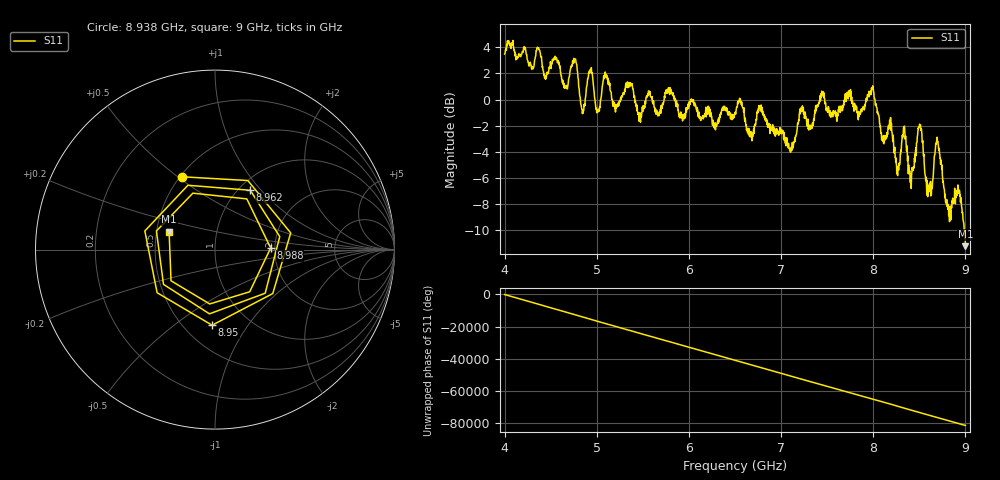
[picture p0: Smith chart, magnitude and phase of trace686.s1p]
! Created with skrf 1.8.0 (http://scikit-rf.org).
# Hz S RI R 50.0
!freq ReS11 ImS11
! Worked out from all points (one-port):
!   1601 points, 4 GHz to 9 GHz, reference 50 ohm
!   lowest |S11| = -11.2 dB at 9 GHz (marker M1), VSWR 1.76, Z = 29.1 + j6.28 ohm
!   |S11| at or under -10 dB: 8.986956 GHz to end of sweep
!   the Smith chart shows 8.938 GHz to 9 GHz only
!   S11 on the Smith chart (normalised r, x): 8.938 GHz: 0.51, +0.52; 8.95 GHz: 0.68, -0.70; 8.962 GHz: 1.13, +0.88; 8.988 GHz: 1.90, +0.04; 9 GHz: 0.58, +0.13
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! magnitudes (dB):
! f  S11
! 4 GHz  3.5
! 4.625 GHz  1.4
! 4.759 GHz  3.1
! 4.847 GHz  -1.0
! 4.928 GHz  2.3
! 5.009 GHz  -0.8
! 5.097 GHz  1.8
! 5.25 GHz  -0.1
! 5.875 GHz  -0.6
! 6.5 GHz  -1.1
! 6.775 GHz  -0.9
! 7.125 GHz  -3.7
! 7.222 GHz  -0.8
! 7.75 GHz  0.2
! 7.988 GHz  0.8
! 8.262 GHz  -5.8
! 8.331 GHz  -2.1
! 8.375 GHz  -4.3
! 8.425 GHz  -5.3
! 8.503 GHz  -1.9
! 8.606 GHz  -6.8
! 8.697 GHz  -3.3
! 8.816 GHz  -8.1
! 8.938 GHz  -7.0
! 8.95 GHz  -7.5
! 8.962 GHz  -8.3
! 8.988 GHz  -10.2
! 9 GHz  -11.2
